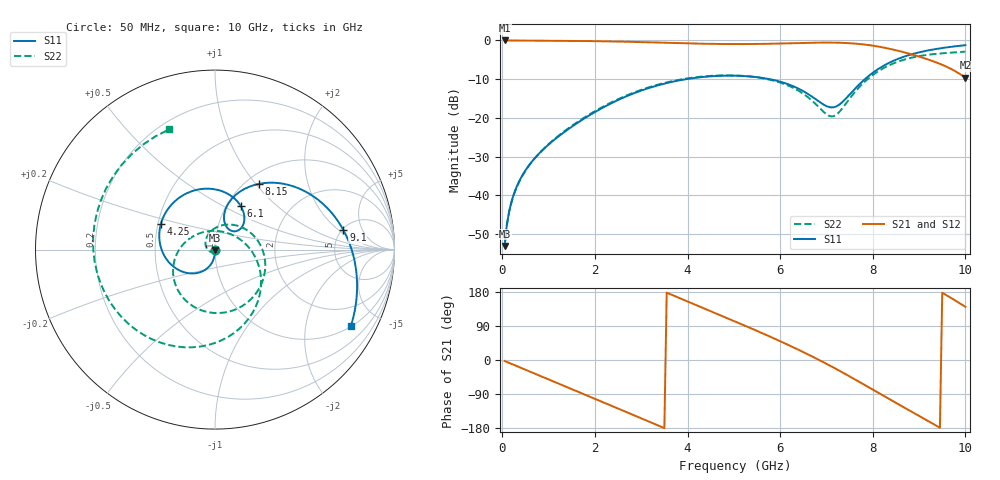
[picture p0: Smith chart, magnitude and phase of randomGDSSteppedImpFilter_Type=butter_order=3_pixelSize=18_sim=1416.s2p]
! freq	dB(S11)	phase(S11)	dB(S12)	phase(S12)
!  dB(S21)	phase(S21)	dB(S22)	phase(S22)
!S-par simulation data
#  GHz  S  DB  R 50
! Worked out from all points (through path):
!   200 points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, 50 MHz to 10 GHz, reference 50 ohm
!   highest |S21| = -0.01 dB at 50 MHz (marker M1); lowest = -9.6 dB at 10 GHz (marker M2)
!   group delay of S21, straight-line fit = 157 ps
!   lowest |S11| = -53.0 dB at 50 MHz (marker M3), VSWR 1.00, Z = 50 - j0.223 ohm
!   |S11| at or under -10 dB: start of sweep to 3.967 GHz; 5.773 GHz to 7.83 GHz (2.057 GHz wide, 30.2 % of centre)
!   |S22| runs from -53.1 to -2.9 dB; largest |S21 - S12| = 0
!   S11 on the Smith chart (normalised r, x): 50 MHz: 1.00, -0.00; 4.25 GHz: 0.52, +0.17; 6.1 GHz: 1.16, +0.61; 8.15 GHz: 1.14, +1.04; 9.1 GHz: 5.15, +2.33; 10 GHz: 1.01, -3.53
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0.05  -53.02 -85.1  -0.01 -2.6  -0.01 -2.6  -53.11 -89.9
0.1  -47.40 -86.8  -0.01 -5.1  -0.01 -5.1  -47.53 -96.0
0.2  -41.56 -89.0  -0.02 -10.2  -0.02 -10.2  -41.72 -107.7
0.45  -34.49 -92.0  -0.03 -23.0  -0.03 -23.0  -34.60 -134.1
1.15  -25.37 -98.7  -0.08 -58.6  -0.08 -58.6  -25.22 158.8
1.75  -20.30 -108.3  -0.15 -89.4  -0.15 -89.4  -20.06 107.4
2.2  -17.16 -119.7  -0.22 -112.6  -0.22 -112.6  -16.94 72.9
2.65  -14.57 -134.6  -0.32 -135.8  -0.32 -135.8  -14.37 41.5
3.4  -11.46 -165.0  -0.56 -174.6  -0.56 -174.6  -11.28 -5.0
4.25  -9.53 154.8  -0.83 141.8  -0.83 141.8  -9.40 -51.4
5.05  -9.11 113.6  -0.94 100.6  -0.94 100.6  -9.05 -91.8
5.6  -9.64 84.6  -0.89 71.5  -0.89 71.5  -9.71 -120.0
6.1  -11.01 59.3  -0.77 44.0  -0.77 44.0  -11.30 -148.6
6.7  -14.60 39.4  -0.59 8.8  -0.59 8.8  -15.67 162.6
7.15  -17.26 57.1  -0.56 -19.8  -0.56 -19.8  -19.56 78.8
7.7  -11.45 73.8  -0.90 -57.1  -0.90 -57.1  -12.16 -16.4
8.15  -7.13 56.3  -1.65 -88.7  -1.65 -88.7  -7.72 -59.7
8.35  -5.79 46.2  -2.12 -102.7  -2.12 -102.7  -6.43 -77.2
8.75  -3.89 25.6  -3.30 -130.3  -3.30 -130.3  -4.71 -111.9
9.1  -2.81 8.6  -4.54 -154.3  -4.54 -154.3  -3.85 -143.9
9.6  -1.79 -13.5  -6.82 170.4  -6.82 170.4  -3.23 162.9
10  -1.22 -29.5  -9.64 140.4  -9.64 140.4  -2.89 110.9
